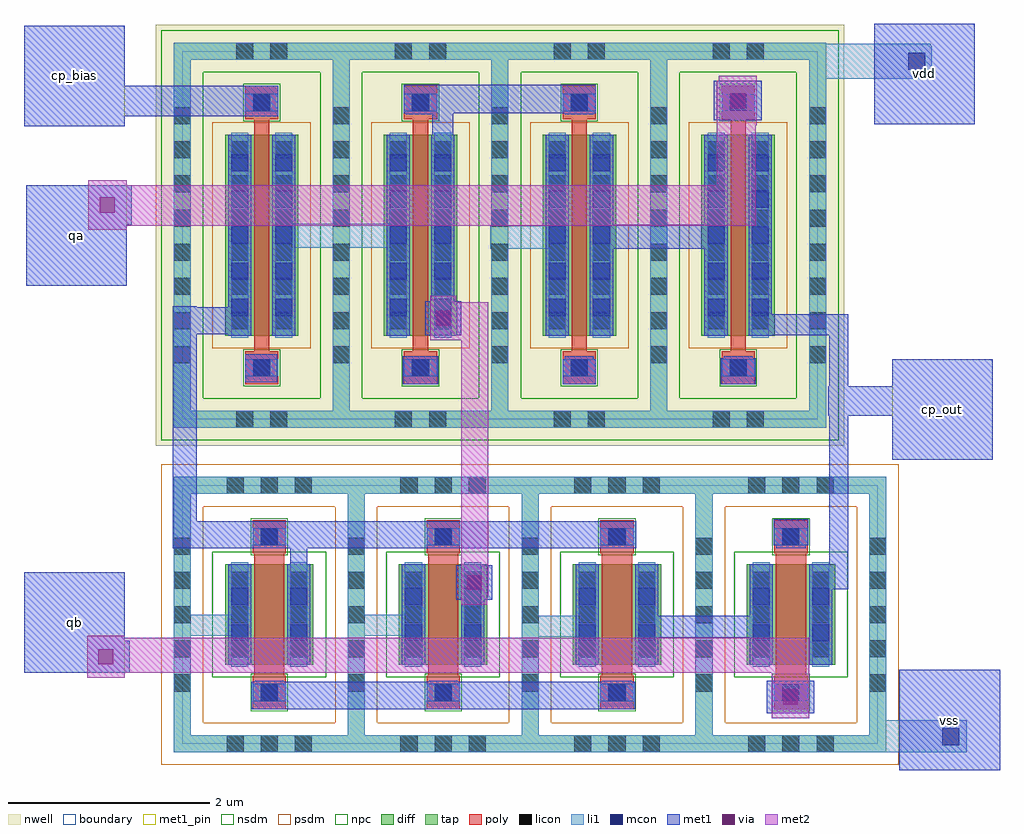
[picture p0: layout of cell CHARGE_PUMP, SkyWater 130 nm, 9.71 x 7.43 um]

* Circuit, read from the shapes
.subckt CHARGE_PUMP cp_bias cp_out qa qb vdd vss
XM1 n1 n1 vss vss sky130_fd_pr__nfet_01v8 w=1 l=0.3
XM2 n2 n1 vss vss sky130_fd_pr__nfet_01v8 w=1 l=0.3
XM3 n3 n1 vss vss sky130_fd_pr__nfet_01v8 w=1 l=0.3
XM4 cp_out qb n3 vss sky130_fd_pr__nfet_01v8 w=1 l=0.3
XM5 vdd cp_bias n1 vdd sky130_fd_pr__pfet_01v8 w=2 l=0.15
XM6 n2 n2 vdd vdd sky130_fd_pr__pfet_01v8 w=2 l=0.15
XM7 n4 n2 vdd vdd sky130_fd_pr__pfet_01v8 w=2 l=0.15
XM8 cp_out qa n4 vdd sky130_fd_pr__pfet_01v8 w=2 l=0.15
.ends

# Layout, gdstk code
from math import pi, radians
import gdstk
lib = gdstk.Library(unit=1e-6, precision=1e-09)
def R(c, l, rs):  # rectangles x0, y0, x1, y1
    for r in rs: c.add(gdstk.rectangle(r[:2], r[2:], *l))
def A(c, l, x, y, w, h, nx, ny, dx, dy):  # array of equal rectangles
    R(c, l, [(x+i*dx, y+j*dy, x+i*dx+w, y+j*dy+h) for i in range(nx) for j in range(ny)])
nwell = (64, 20)
diff = (65, 20)
tap = (65, 44)
poly = (66, 20)
licon = (66, 44)
li1 = (67, 20)
mcon = (67, 44)
met1_pin = (68, 16)
met1 = (68, 20)
via = (68, 44)
met2 = (69, 20)
nsdm = (93, 44)
psdm = (94, 20)
npc = (95, 20)
boundary = (235, 4)

sky130_fd_pr__pfet_01v8_ = lib.new_cell('sky130_fd_pr__pfet_01v8_XGAKDL')
R(sky130_fd_pr__pfet_01v8_, nwell, [(-1.055,-2.095,1.055,2.095)])
R(sky130_fd_pr__pfet_01v8_, diff, [(-0.365,-1,0.365,1)])
R(sky130_fd_pr__pfet_01v8_, tap, [(-0.875,-1.915,0.875,-1.745), (-0.875,-1.745,-0.705,1.745), (0.705,-1.745,0.875,1.745), (-0.875,1.745,0.875,1.915)])
R(sky130_fd_pr__pfet_01v8_, poly, [(-0.165,-1.485,0.165,-1.155), (-0.075,-1.155,0.075,1.155), (-0.165,1.155,0.165,1.485)])
A(sky130_fd_pr__pfet_01v8_, licon, -0.875, -1.275, 0.17, 0.17, 1, 8, 0, 0.34)
A(sky130_fd_pr__pfet_01v8_, licon, 0.705, -1.275, 0.17, 0.17, 1, 8, 0, 0.34)
A(sky130_fd_pr__pfet_01v8_, licon, -0.305, -0.935, 0.17, 0.17, 1, 6, 0, 0.34)
A(sky130_fd_pr__pfet_01v8_, licon, 0.135, -0.935, 0.17, 0.17, 1, 6, 0, 0.34)
R(sky130_fd_pr__pfet_01v8_, licon, [(-0.255,-1.915,-0.085,-1.745), (0.085,-1.915,0.255,-1.745), (-0.085,-1.405,0.085,-1.235), (-0.085,1.235,0.085,1.405), (-0.255,1.745,-0.085,1.915), (0.085,1.745,0.255,1.915)])
R(sky130_fd_pr__pfet_01v8_, li1, [(-0.875,-1.915,0.875,-1.745), (-0.875,-1.745,-0.705,1.745), (0.705,-1.745,0.875,1.745), (-0.165,-1.405,0.165,-1.235), (-0.305,-1.02,-0.135,1.02), (0.135,-1.02,0.305,1.02), (-0.165,1.235,0.165,1.405), (-0.875,1.745,0.875,1.915)])
A(sky130_fd_pr__pfet_01v8_, mcon, -0.305, -0.805, 0.17, 0.17, 1, 5, 0, 0.36)
A(sky130_fd_pr__pfet_01v8_, mcon, 0.135, -0.805, 0.17, 0.17, 1, 5, 0, 0.36)
R(sky130_fd_pr__pfet_01v8_, mcon, [(-0.085,-1.405,0.085,-1.235), (-0.085,1.235,0.085,1.405)])
R(sky130_fd_pr__pfet_01v8_, met1, [(-0.145,-1.435,0.145,-1.205), (-0.335,-1,-0.105,1), (0.105,-1,0.335,1), (-0.145,1.205,0.145,1.435)])
R(sky130_fd_pr__pfet_01v8_, nsdm, [(-1,-2.04,1,-1.62), (-1,-1.62,-0.58,1.62), (0.58,-1.62,1,1.62), (-1,1.62,1,2.04)])
R(sky130_fd_pr__pfet_01v8_, psdm, [(-0.49,-1.125,0.49,1.125)])
R(sky130_fd_pr__pfet_01v8_, npc, [(-0.185,-1.505,0.185,-1.135), (-0.185,1.135,0.185,1.505)])
R(sky130_fd_pr__pfet_01v8_, boundary, [(-0.79,-1.83,0.79,1.83)])

sky130_fd_pr__nfet_01v8_ = lib.new_cell('sky130_fd_pr__nfet_01v8_PSFW3M')
R(sky130_fd_pr__nfet_01v8_, diff, [(-0.44,-0.5,0.44,0.5)])
R(sky130_fd_pr__nfet_01v8_, tap, [(-0.95,-1.37,0.95,-1.2), (-0.95,-1.2,-0.78,1.2), (0.78,-1.2,0.95,1.2), (-0.95,1.2,0.95,1.37)])
R(sky130_fd_pr__nfet_01v8_, poly, [(-0.165,-0.94,0.165,-0.61), (-0.15,-0.61,0.15,0.61), (-0.165,0.61,0.165,0.94)])
A(sky130_fd_pr__nfet_01v8_, licon, -0.425, -1.37, 0.17, 0.17, 3, 2, 0.34, 2.57)
A(sky130_fd_pr__nfet_01v8_, licon, -0.95, -0.765, 0.17, 0.17, 1, 5, 0, 0.34)
A(sky130_fd_pr__nfet_01v8_, licon, 0.78, -0.765, 0.17, 0.17, 1, 5, 0, 0.34)
A(sky130_fd_pr__nfet_01v8_, licon, -0.38, -0.425, 0.17, 0.17, 1, 3, 0, 0.34)
A(sky130_fd_pr__nfet_01v8_, licon, 0.21, -0.425, 0.17, 0.17, 1, 3, 0, 0.34)
R(sky130_fd_pr__nfet_01v8_, licon, [(-0.085,-0.86,0.085,-0.69), (-0.085,0.69,0.085,0.86)])
R(sky130_fd_pr__nfet_01v8_, li1, [(-0.95,-1.37,0.95,-1.2), (-0.95,-1.2,-0.78,1.2), (0.78,-1.2,0.95,1.2), (-0.165,-0.86,0.165,-0.69), (-0.38,-0.52,-0.21,0.52), (0.21,-0.52,0.38,0.52), (-0.165,0.69,0.165,0.86), (-0.95,1.2,0.95,1.37)])
R(sky130_fd_pr__nfet_01v8_, mcon, [(-0.085,-0.86,0.085,-0.69), (-0.38,-0.265,-0.21,-0.095), (0.21,-0.265,0.38,-0.095), (-0.38,0.095,-0.21,0.265), (0.21,0.095,0.38,0.265), (-0.085,0.69,0.085,0.86)])
R(sky130_fd_pr__nfet_01v8_, met1, [(-0.145,-0.89,0.145,-0.66), (-0.41,-0.5,-0.18,0.5), (0.18,-0.5,0.41,0.5), (-0.145,0.66,0.145,0.89)])
R(sky130_fd_pr__nfet_01v8_, nsdm, [(-0.565,-0.625,0.565,0.625)])
R(sky130_fd_pr__nfet_01v8_, psdm, [(-1.075,-1.495,1.075,-1.075), (-1.075,-1.075,-0.655,1.075), (0.655,-1.075,1.075,1.075), (-1.075,1.075,1.075,1.495)])
R(sky130_fd_pr__nfet_01v8_, npc, [(-0.185,-0.96,0.185,-0.59), (-0.185,0.59,0.185,0.96)])
R(sky130_fd_pr__nfet_01v8_, boundary, [(-0.865,-1.285,0.865,1.285)])

charge_pump = lib.new_cell('CHARGE_PUMP')
R(charge_pump, li1, [(9.81,-0.52,10.78,-0.2), (6.35,0.63,7.09,0.84), (2.89,0.64,3.63,0.85), (4.62,0.64,5.36,0.85), (6.04,4.49,6.79,4.72), (3.9,4.5,5.21,4.74), (9.21,6.18,10.42,6.2), (9.21,6.2,10.43,6.51), (9.21,6.51,10.42,6.53)])
R(charge_pump, mcon, [(10.535,-0.45,10.705,-0.28), (10.195,6.27,10.365,6.44)])
R(charge_pump, met1_pin, [(10.11,-0.7,11.11,0.3), (1.4,0.27,2.4,1.27), (10.04,2.39,11.04,3.39), (1.42,4.12,2.42,5.12), (1.4,5.71,2.4,6.71), (9.86,5.73,10.86,6.73)])
R(charge_pump, met1, [(10.11,-0.7,11.11,0.3), (8.79,-0.13,9.26,0.19), (3.66,-0.09,7.48,0.18), (1.4,0.27,2.45,0.59), (1.4,0.59,2.4,1.27), (7.51,0.62,8.82,0.84), (5.7,1,6.06,1.34), (9.24,1.1,9.6,1.29), (4.05,1.13,4.22,1.51), (9.41,1.29,9.6,2.83), (2.88,1.51,7.49,1.78), (8.86,1.54,9.2,1.8), (2.88,1.78,3.12,3.64), (10.04,2.39,11.04,2.83), (9.4,2.83,11.04,3.12), (9.41,3.12,9.6,3.63), (10.04,3.12,11.04,3.39), (5.17,3.14,5.52,3.42), (6.76,3.14,7.09,3.39), (8.33,3.14,8.68,3.4), (3.6,3.16,3.92,3.44), (5.39,3.63,5.75,3.97), (8.64,3.63,9.6,3.84), (2.88,3.64,3.63,3.91), (2.88,3.91,3.12,3.92), (1.42,4.12,2.42,4.73), (7.06,4.49,8.38,4.73), (1.42,4.73,2.47,5.12), (5.46,5.44,5.67,5.84), (1.4,5.71,2.4,5.81), (9.86,5.73,10.86,6.73), (8.26,5.77,8.74,6.16), (1.4,5.81,3.93,6.11), (5.18,5.84,7.09,6.12), (1.4,6.11,2.4,6.71)])
R(charge_pump, via, [(8.95,-0.045,9.1,0.105), (2.14,0.355,2.29,0.505), (5.805,1.095,5.955,1.245), (5.495,3.725,5.645,3.875), (2.155,4.85,2.305,5), (8.425,5.89,8.575,6.04)])
R(charge_pump, met2, [(8.84,-0.18,9.21,0.27), (2.03,0.22,2.4,0.27), (2.03,0.27,9.21,0.62), (2.03,0.62,2.4,0.64), (5.75,0.95,6.01,1.02), (5.75,1.02,6.02,3.58), (5.44,3.58,6.02,3.96), (5.44,3.96,5.7,4.02), (2.04,4.68,2.42,4.72), (2.04,4.72,8.68,5.12), (2.04,5.12,2.42,5.17), (8.29,5.12,8.68,5.72), (8.29,5.72,8.69,6.16), (8.31,6.16,8.69,6.21)])
charge_pump.add(gdstk.Reference(sky130_fd_pr__pfet_01v8_, (3.765,4.625)))
charge_pump.add(gdstk.Reference(sky130_fd_pr__nfet_01v8_, (9.03,0.85)))
charge_pump.add(gdstk.Reference(sky130_fd_pr__pfet_01v8_, (8.505,4.625), rotation=pi, x_reflection=True))
charge_pump.add(gdstk.Reference(sky130_fd_pr__nfet_01v8_, (7.3,0.85)))
charge_pump.add(gdstk.Reference(sky130_fd_pr__pfet_01v8_, (6.925,4.625)))
charge_pump.add(gdstk.Reference(sky130_fd_pr__nfet_01v8_, (3.84,0.85)))
charge_pump.add(gdstk.Reference(sky130_fd_pr__nfet_01v8_, (5.57,0.85)))
charge_pump.add(gdstk.Reference(sky130_fd_pr__pfet_01v8_, (5.345,4.625), rotation=pi, x_reflection=True))
charge_pump.add(gdstk.Label('qa', (1.92,4.62), layer=68, texttype=5))
charge_pump.add(gdstk.Label('qb', (1.9,0.77), layer=68, texttype=5))
charge_pump.add(gdstk.Label('cp_out', (10.54,2.89), layer=68, texttype=5))
charge_pump.add(gdstk.Label('vdd', (10.36,6.23), layer=68, texttype=5))
charge_pump.add(gdstk.Label('vss', (10.61,-0.2), layer=68, texttype=5))
charge_pump.add(gdstk.Label('cp_bias', (1.9,6.21), layer=68, texttype=5))

lib.write_gds('CHARGE_PUMP.gds')
